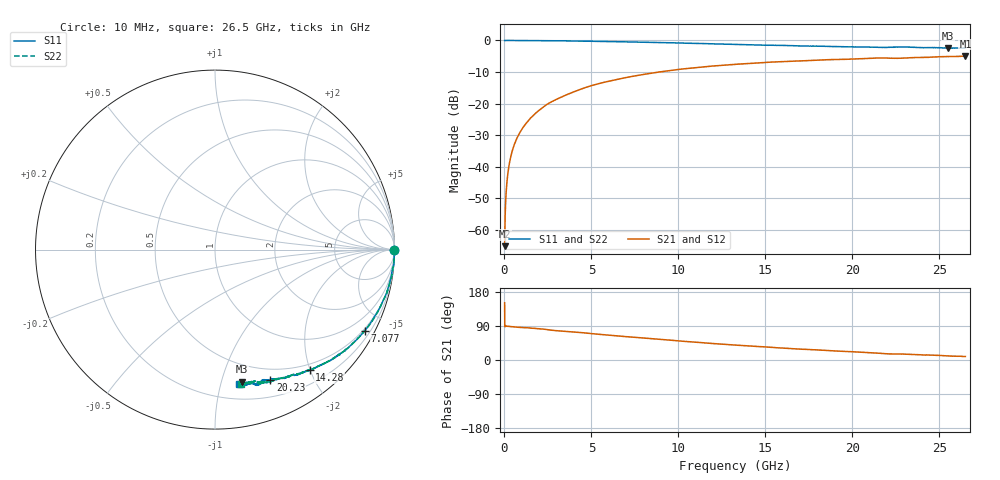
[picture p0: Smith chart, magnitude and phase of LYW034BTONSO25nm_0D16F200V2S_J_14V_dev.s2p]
!Keysight Technologies,N5222B,MY61253708,A.15.00.15
!Date: Wednesday, June 19, 2024 08:44:18
!Correction: S11(C  2-Port  )
!S21(C  2-Port  )
!S12(C  2-Port  )
!S22(C  2-Port  )
!S2P File: Measurements: S11, S21, S12, S22:
# Hz S  RI  R 50
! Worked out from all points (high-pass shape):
!   2651 points, 10 MHz to 26.5 GHz, reference 50 ohm
!   highest |S21| = -4.95 dB at 26.5 GHz (marker M1); lowest = -65.2 dB at 10 MHz (marker M2)
!   |S21| within 3 dB of the highest: 12.35 GHz to end of sweep
!   lowest |S11| = -2.5 dB at 25.5 GHz (marker M3), VSWR 7.04, Z = 17.3 - j58.3 ohm
!   |S11| at or under -10 dB: nowhere
!   |S22| runs from -2.4 to 0.0 dB; largest |S21 - S12| = 0.0083
!   S11 on the Smith chart (normalised r, x): 10 MHz: open; 7.077 GHz: 0.43, -3.91; 14.28 GHz: 0.40, -1.99; 20.23 GHz: 0.38, -1.45; 26.5 GHz: 0.32, -1.14
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1e7  0.9988 -0.00215  -0.000477 0.000266  0.000212 0.000319  0.9983 -0.00105
7.997358e7  0.9998 -0.00614  4.55e-05 0.00317  1.15e-05 0.00315  0.9994 -0.00573
1.599434e8  0.9997 -0.0125  9.75e-05 0.00631  0.000103 0.00633  0.9995 -0.0118
1.999283e8  0.9999 -0.0151  0.00016 0.00789  0.00014 0.0079  0.9996 -0.0143
2.599057e8  0.9993 -0.0199  0.000205 0.0103  0.000208 0.0103  0.9993 -0.0189
3.598679e8  0.9991 -0.0273  0.000469 0.0142  0.00047 0.0142  0.9992 -0.0265
4.898189e8  0.9986 -0.0368  0.000771 0.0193  0.000774 0.0193  0.9986 -0.0355
6.497585e8  0.9979 -0.0483  0.00131 0.0254  0.00132 0.0255  0.998 -0.0471
8.49683e8  0.9973 -0.0627  0.00219 0.0332  0.00217 0.0333  0.9972 -0.0622
1.469449e9  0.9882 -0.1093  0.00565 0.0574  0.00558 0.0574  0.991 -0.1049
2.339121e9  0.9764 -0.1676  0.0144 0.0914  0.0146 0.0916  0.9778 -0.1676
3.198796e9  0.9615 -0.2267  0.0287 0.1207  0.0288 0.1211  0.9615 -0.2258
4.428332e9  0.9276 -0.305  0.0518 0.1628  0.052 0.1634  0.9295 -0.302
7.077332e9  0.835 -0.4512  0.1251 0.2292  0.126 0.2296  0.8372 -0.4491
8.846664e9  0.7614 -0.5284  0.1815 0.2575  0.1827 0.2581  0.7636 -0.5263
1.3255e10  0.5692 -0.6527  0.3224 0.2657  0.3243 0.2656  0.5734 -0.6513
1.428461e10  0.5268 -0.6725  0.3503 0.2588  0.3521 0.2581  0.5315 -0.6682
1.767333e10  0.3927 -0.7119  0.4281 0.2205  0.4313 0.2189  0.4047 -0.7104
2.023237e10  0.3091 -0.7254  0.4763 0.1843  0.4778 0.1828  0.3232 -0.7264
2.209166e10  0.2634 -0.7292  0.5036 0.1459  0.5048 0.1437  0.2583 -0.737
2.550038e10  0.1511 -0.7358  0.5454 0.1019  0.5466 0.1031  0.1716 -0.7431
2.65e10  0.1339 -0.7503  0.5584 0.0904  0.557 0.0876  0.1462 -0.7515
